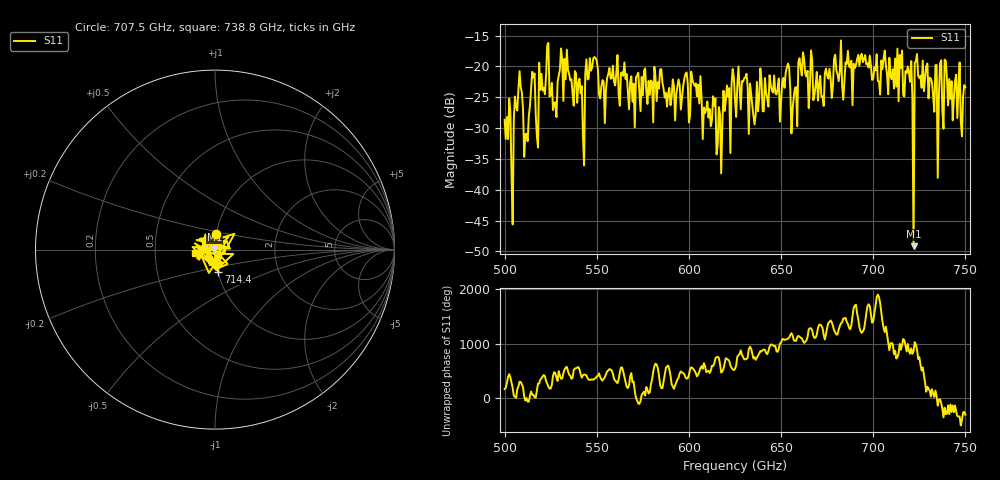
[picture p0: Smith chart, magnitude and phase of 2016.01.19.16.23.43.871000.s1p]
!Created with skrf (http://scikit-rf.org).
# GHz S RI R 50.0
!freq ReS11 ImS11
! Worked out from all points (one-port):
!   401 points, 500 GHz to 750 GHz, reference 50 ohm
!   lowest |S11| = -49.1 dB at 721.9 GHz (marker M1), VSWR 1.01, Z = 49.7 + j0.197 ohm
!   |S11| at or under -10 dB: start of sweep to end of sweep
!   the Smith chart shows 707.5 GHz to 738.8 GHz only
!   S11 on the Smith chart (normalised r, x): 707.5 GHz: 1.00, +0.17; 714.4 GHz: 1.01, -0.25; 738.8 GHz: 0.80, -0.03
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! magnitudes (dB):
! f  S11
! 500 GHz  -28.6
! 505 GHz  -28.5
! 508.8 GHz  -23.4
! 511.9 GHz  -30.9
! 515 GHz  -20.9
! 523.8 GHz  -16.2
! 527.5 GHz  -25.8
! 531.2 GHz  -18.9
! 541.9 GHz  -23.2
! 548.8 GHz  -18.5
! 553.1 GHz  -22.2
! 562.5 GHz  -26.4
! 593.8 GHz  -23.3
! 602.5 GHz  -22.7
! 616.2 GHz  -26.6
! 625 GHz  -25.4
! 635 GHz  -28.0
! 653.1 GHz  -20.2
! 656.2 GHz  -26.9
! 660.6 GHz  -20.2
! 687.5 GHz  -20.2
! 707.5 GHz  -21.3
! 714.4 GHz  -18.1
! 718.8 GHz  -20.0
! 721.9 GHz  -49.1
! 723.8 GHz  -18.0
! 738.8 GHz  -18.9
! 750 GHz  -23.4
